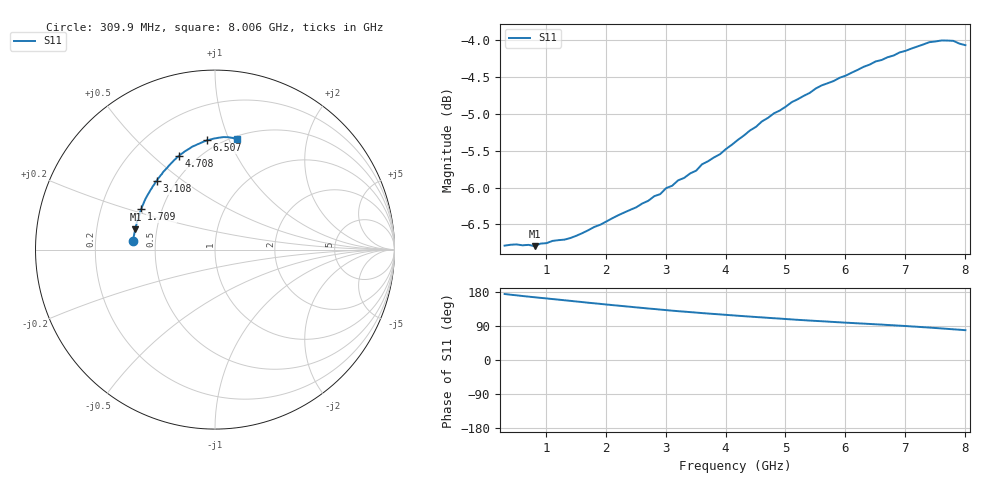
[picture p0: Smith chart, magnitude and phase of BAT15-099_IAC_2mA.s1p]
! Infineon Technologies  Discrete & RF Semiconductors
! BAT15-099
! IAC = 2 mA
! One-Port S-Parameters
# Hz  S  MA  R  50
!f  S11
!Hz  Mag  Ang
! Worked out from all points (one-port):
!   78 points, 309.9 MHz to 8.006 GHz, reference 50 ohm
!   lowest |S11| = -6.8 dB at 809.6 MHz (marker M1), VSWR 2.69, Z = 18.9 + j5.44 ohm
!   |S11| at or under -10 dB: nowhere
!   S11 on the Smith chart (normalised r, x): 309.9 MHz: 0.37, +0.04; 1.709 GHz: 0.38, +0.22; 3.108 GHz: 0.39, +0.40; 4.708 GHz: 0.40, +0.61; 6.507 GHz: 0.43, +0.83; 8.006 GHz: 0.53, +1.07
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3.0985e8  0.4577 174.2
4.098e8  0.4584 172.2
5.0975e8  0.4586 170.7
8.096e8  0.4574 165.6
1.10945e9  0.4611 160.8
1.30935e9  0.4621 157.6
1.70915e9  0.4689 151.1
2.009e9  0.4753 146.5
2.30885e9  0.482 141.9
2.8086e9  0.4944 134.6
3.0085e9  0.5008 131.6
3.10845e9  0.5026 130.2
3.2084e9  0.5069 128.8
3.50825e9  0.5145 125.1
3.6082e9  0.5197 123.8
3.90805e9  0.528 120.3
4.2079e9  0.5399 116.8
4.70765e9  0.5587 111.3
5.2074e9  0.5752 106.0
5.6072e9  0.5878 102.3
6.10695e9  0.5996 97.7
6.50675e9  0.6101 94.3
6.8066e9  0.6158 91.6
7.10645e9  0.6226 88.6
7.4063e9  0.6288 85.6
7.6062e9  0.6304 83.4
7.8061e9  0.63 81.0
8.006e9  0.6258 78.7
